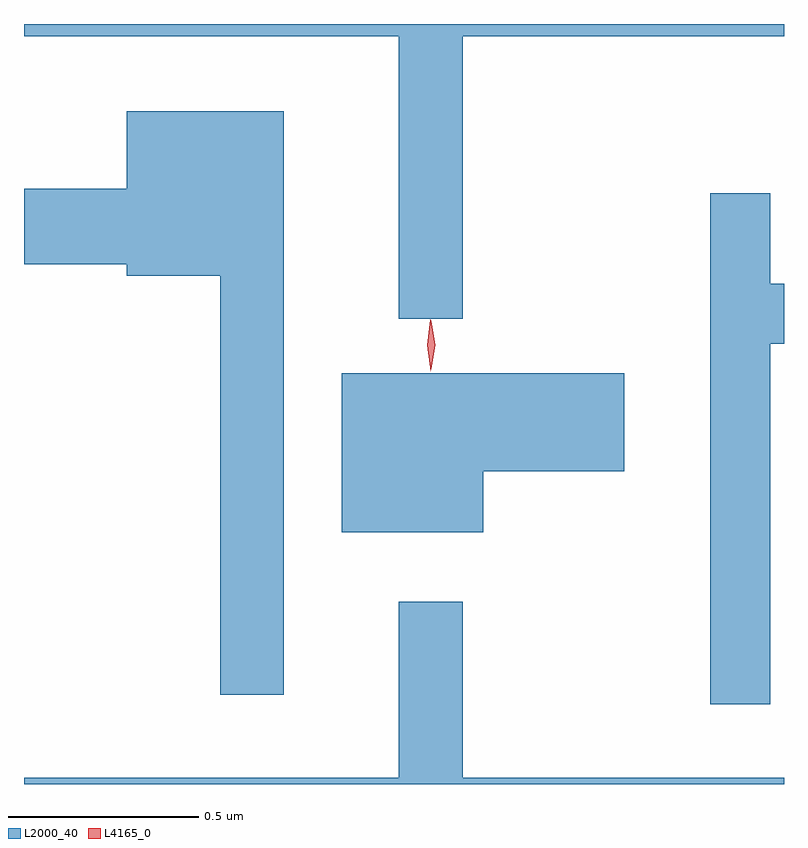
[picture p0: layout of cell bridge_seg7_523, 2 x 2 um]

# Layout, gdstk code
import gdstk
lib = gdstk.Library(unit=1e-6, precision=1e-09)
def P(c, l, *ps):  # polygons
    for p in ps: c.add(gdstk.Polygon(p, *l))
L2000_40 = (2000, 40)
L4165_0 = (4165, 0)

bridge_seg7_523 = lib.new_cell('bridge_seg7_523')
P(bridge_seg7_523, L2000_40, [(1312.489,1683.236),(1313.335,1683.236),(1313.335,1683.268),(1311.335,1683.268),(1311.335,1683.236),(1312.321,1683.236),(1312.321,1682.493),(1312.489,1682.493)],
  [(1312.019,1683.039),(1311.606,1683.039),(1311.606,1682.834),(1311.335,1682.834),(1311.335,1682.636),(1311.606,1682.636),(1311.606,1682.606),(1311.851,1682.606),(1311.851,1681.503),(1312.019,1681.503)],
  [(1313.299,1682.426),(1313.335,1682.426),(1313.335,1682.584),(1313.299,1682.584),(1313.299,1682.823),(1313.141,1682.823),(1313.141,1681.478),(1313.299,1681.478)],
  [(1312.544,1682.091),(1312.914,1682.091),(1312.914,1682.349),(1312.171,1682.349),(1312.171,1681.931),(1312.544,1681.931)],
  [(1313.335,1681.284),(1312.489,1681.284),(1312.489,1681.748),(1312.321,1681.748),(1312.321,1681.284),(1311.335,1681.284),(1311.335,1681.268),(1313.335,1681.268)])
P(bridge_seg7_523, L4165_0, [(1312.405,1682.354),(1312.396,1682.422),(1312.404,1682.49),(1312.405,1682.49),(1312.406,1682.49),(1312.415,1682.422),(1312.406,1682.354),(1312.406,1682.354)],
  [(1312.406,1682.36),(1312.397,1682.424),(1312.406,1682.486),(1312.407,1682.487),(1312.407,1682.486),(1312.417,1682.424),(1312.407,1682.36),(1312.407,1682.36)])

lib.write_gds('bridge_seg7_523.gds')
